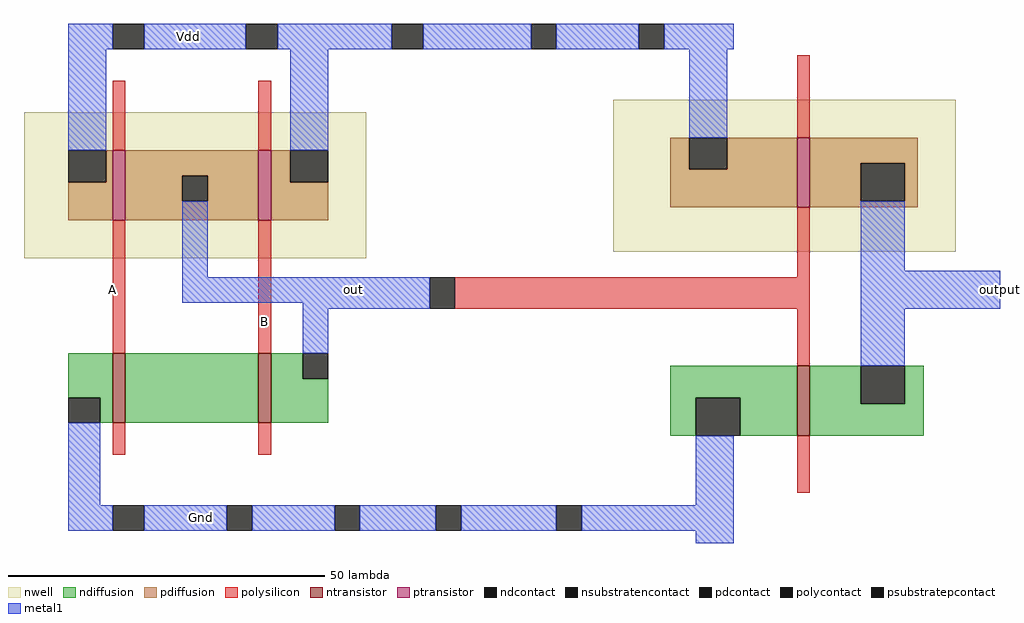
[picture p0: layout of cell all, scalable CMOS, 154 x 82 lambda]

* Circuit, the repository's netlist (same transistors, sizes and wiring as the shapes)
* SPICE3 file created from all.ext - technology: scmos

.option scale=0.09u

M1000 output out Vdd w_89_58# pfet w=11 l=2
+  ad=187 pd=56 as=396 ps=138
M1001 output out Gnd Gnd nfet w=11 l=2
+  ad=198 pd=58 as=297 ps=98
M1002 Vdd B out w_n4_57# pfet w=11 l=2
+  ad=0 pd=0 as=231 ps=64
M1003 out B a_12_31# Gnd nfet w=11 l=2
+  ad=99 pd=40 as=231 ps=64
M1004 out A Vdd w_n4_57# pfet w=11 l=2
+  ad=0 pd=0 as=0 ps=0
M1005 a_12_31# A Gnd Gnd nfet w=11 l=2
+  ad=0 pd=0 as=0 ps=0

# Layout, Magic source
magic
tech scmos
<< nwell >>
rect -4 57 50 80
rect 89 58 143 82
<< ntransistor >>
rect 10 31 12 42
rect 33 31 35 42
rect 118 29 120 40
<< ptransistor >>
rect 10 63 12 74
rect 33 63 35 74
rect 118 65 120 76
<< ndiffusion >>
rect 3 35 10 42
rect 8 31 10 35
rect 12 31 33 42
rect 35 38 40 42
rect 35 31 44 38
rect 98 35 118 40
rect 98 29 102 35
rect 109 29 118 35
rect 120 34 128 40
rect 135 34 138 40
rect 120 29 138 34
<< pdiffusion >>
rect 9 69 10 74
rect 3 63 10 69
rect 12 70 33 74
rect 12 66 21 70
rect 25 66 33 70
rect 12 63 33 66
rect 35 69 38 74
rect 35 63 44 69
rect 98 71 101 76
rect 107 71 118 76
rect 98 65 118 71
rect 120 72 137 76
rect 120 66 128 72
rect 135 66 137 72
rect 120 65 137 66
<< ndcontact >>
rect 3 31 8 35
rect 40 38 44 42
rect 102 29 109 35
rect 128 34 135 40
<< pdcontact >>
rect 3 69 9 74
rect 21 66 25 70
rect 38 69 44 74
rect 101 71 107 76
rect 128 66 135 72
<< psubstratepcontact >>
rect 10 14 15 18
rect 28 14 32 18
rect 45 14 49 18
rect 61 14 65 18
rect 80 14 84 18
<< nsubstratencontact >>
rect 10 90 15 94
rect 31 90 36 94
rect 54 90 59 94
rect 76 90 80 94
rect 93 90 97 94
<< polysilicon >>
rect 10 74 12 85
rect 33 74 35 85
rect 118 76 120 89
rect 10 42 12 63
rect 33 42 35 63
rect 118 54 120 65
rect 64 49 120 54
rect 118 40 120 49
rect 10 26 12 31
rect 33 26 35 31
rect 118 20 120 29
<< polycontact >>
rect 60 49 64 54
<< metal1 >>
rect 3 90 10 94
rect 15 90 31 94
rect 36 90 54 94
rect 59 90 76 94
rect 80 90 93 94
rect 97 90 108 94
rect 3 74 9 90
rect 38 74 44 90
rect 101 76 107 90
rect 21 54 25 66
rect 128 55 135 66
rect 21 50 60 54
rect 40 49 60 50
rect 128 49 150 55
rect 40 42 44 49
rect 128 40 135 49
rect 3 18 8 31
rect 102 18 108 29
rect 3 14 10 18
rect 15 14 28 18
rect 32 14 45 18
rect 49 14 61 18
rect 65 14 80 18
rect 84 14 108 18
rect 102 12 108 14
<< labels >>
rlabel metal1 22 92 22 92 5 Vdd
rlabel metal1 24 16 24 16 1 Gnd
rlabel polysilicon 10 52 10 52 1 A
rlabel polysilicon 34 47 34 47 1 B
rlabel metal1 48 52 48 52 7 out
rlabel metal1 150 49 150 55 7 output
<< end >>
